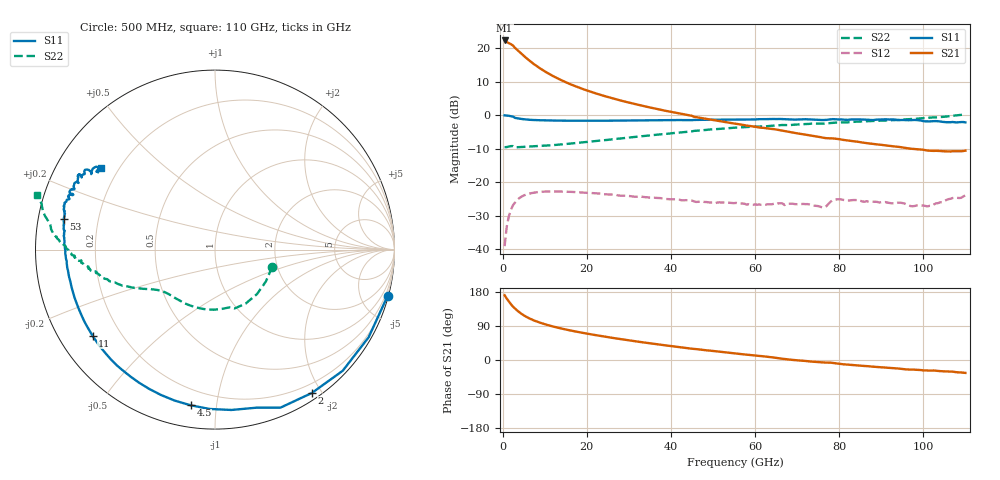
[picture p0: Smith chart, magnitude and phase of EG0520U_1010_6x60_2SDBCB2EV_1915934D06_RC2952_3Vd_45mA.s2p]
!File name = EG0520U_1010_6x60_2SDBCB2EV_1915934D06_RC2952_3Vd_45mA.s2p
!Base file name = EG0520U_1010_6x60_2SDBCB2EV_1915934D06_RC2952
!Date = 8/23/2019
!Time = 1:15 PM
!Test duration(min) = 0.15
!Test = S-Parameters
!MPTS version = 8.91.5
!State File = C:\Data\PNA\20190821205423\S-Parameters_2019-08-23.sta
!Cal File =
!ComputerName = CMPE-LAB-6
!Comments =
!Attenuation = 0
!Z0 = 50
!Input Power(dBm) = -13.00
!Device ID = EG0520U_1010_6x60_2SDBCB2EV
!Row = 29
!Column = 52
!Technology = QPHT09
!Lot/Wafer = 1915934D06
!Gate Size = 360
!Mask = EG0520
!Cal Standards = GaAs BCB
!Cal Kit = EG2306
!Job Number = 20190821205423
!Device Type = FET
!set_Vg(v) = -1.500
!set_Vd(v) = 3.000
!set_Vd(mA) = 45.000
!file_name = EG0520U_1010_6x60_2SDBCB2EV_1915934D06_RC2952_3Vd_45mA.s2p
!Vd(V) = 3.000
!Vd(mA) = 45.015
!Vg(V) = -0.461
!Vg(mA) = -0.001
# GHz  S  DB  R  50
!%	Freq(GHz)  s11(dB)  s11(deg)  s21(dB)  s21(deg)  s12(dB)  s12(deg)  s22(dB)  s22(deg)
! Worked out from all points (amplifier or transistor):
!   220 points, 500 MHz to 110 GHz, reference 50 ohm
!   highest |S21| = 22.3 dB at 500 MHz (marker M1)
!   |S21| within 3 dB of that: start of sweep to 3.658 GHz
!   unconditionally stable (mu >= 1): 31.57 GHz to 102.7 GHz
!   at 18.5 GHz: K = 0.55, MSG = 15.5 dB, |S12| = -23.0 dB
!   at 55.5 GHz: K = 1.53, MAG = 7.5 dB, |S12| = -26.2 dB
!   at 110 GHz: K = -1.60, MSG = 6.7 dB, |S12| = -23.9 dB
!   S11 on the Smith chart (normalised r, x): 500 MHz: 0.13, -7.58; 2 GHz: 0.08, -1.88; 4.5 GHz: 0.11, -0.85; 11 GHz: 0.10, -0.31; 53 GHz: 0.08, +0.10; 110 GHz: 0.13, +0.31
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0.5  -0.04 -15.0  22.28 170.9  -39.06 81.2  -9.55 -16.9
1  -0.13 -29.7  21.84 162.2  -33.30 73.4  -9.51 -32.2
2  -0.32 -56.0  21.19 147.2  -28.18 58.9  -9.22 -60.5
2.5  -0.42 -67.5  20.74 140.8  -26.82 53.1  -9.22 -71.6
3  -0.81 -75.2  20.04 135.6  -26.02 48.7  -9.59 -76.2
3.5  -0.93 -84.1  19.47 130.5  -25.29 44.3  -9.55 -84.4
4.5  -1.13 -98.9  18.32 121.9  -24.31 36.9  -9.45 -98.0
5.5  -1.27 -110.5  17.21 114.9  -23.72 31.2  -9.42 -108.1
7  -1.42 -123.7  15.68 106.6  -23.21 24.8  -9.29 -118.8
9  -1.51 -135.9  13.89 98.2  -22.85 18.8  -9.18 -127.7
11  -1.57 -144.9  12.36 91.4  -22.75 14.3  -9.02 -133.8
14.5  -1.64 -155.7  10.13 81.8  -22.82 9.0  -8.66 -140.4
19  -1.66 -164.7  7.84 71.8  -23.06 4.5  -8.11 -145.1
26.5  -1.62 -174.2  4.90 57.7  -23.72 1.2  -7.12 -150.1
37  -1.51 177.7  1.78 41.0  -24.68 0.9  -5.78 -155.9
53  -1.33 168.7  -2.08 19.9  -26.10 4.9  -3.95 -165.2
55.5  -1.31 167.3  -2.56 17.1  -26.15 5.3  -3.69 -166.5
73.5  -1.30 159.2  -6.12 -4.3  -26.82 5.6  -2.52 -174.3
79.5  -1.24 157.2  -7.07 -9.4  -25.08 10.0  -2.17 -176.1
92  -1.30 151.0  -9.16 -20.9  -26.19 -6.5  -1.52 178.4
101  -1.85 148.6  -10.57 -27.9  -27.20 -5.4  -0.78 173.5
110  -2.14 144.5  -10.57 -34.1  -23.92 -7.6  0.33 162.8
